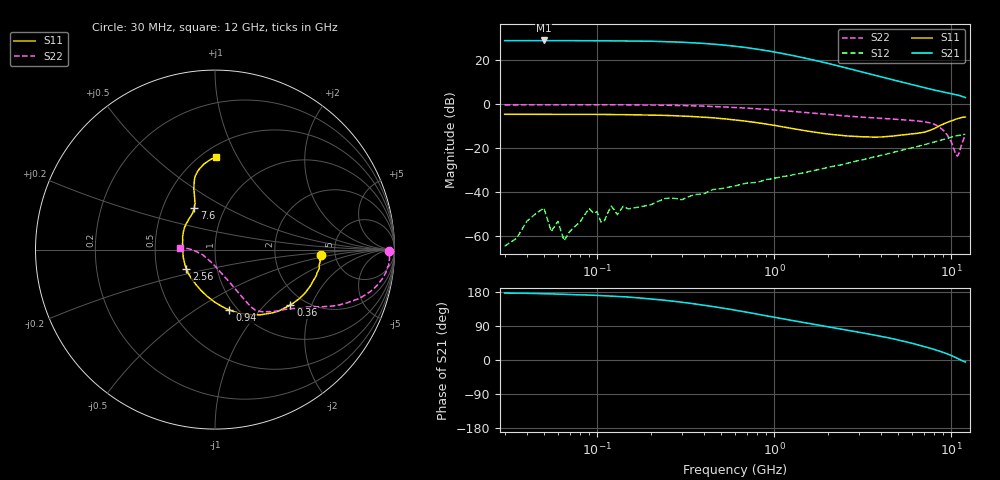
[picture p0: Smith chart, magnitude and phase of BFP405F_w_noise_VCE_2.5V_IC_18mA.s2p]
! Infineon Technologies  Discrete & RF Semiconductors
! BFP405F
! VCE =  2.5 V,  IC =  18 mA
! Common Emitter S-Parameters:  Nov 2015
# GHz  S  MA  R  50
!  f  S11  S21  S12  S22
! GHz  MAG  ANG  MAG  ANG  MAG  ANG  MAG  ANG
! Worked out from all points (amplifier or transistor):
!   239 points, 30 MHz to 12 GHz, reference 50 ohm
!   highest |S21| = 29.0 dB at 50 MHz (marker M1)
!   |S21| within 3 dB of that: start of sweep to 658.2 MHz
!   unconditionally stable (mu >= 1): start of sweep to 36.18 MHz; 1.73 GHz to end of sweep
!   at 300 MHz: K = 0.25, MSG = 35.8 dB, |S12| = -43.3 dB
!   at 1.88 GHz: K = 1.05, MAG = 22.9 dB, |S12| = -29.3 dB
!   at 12 GHz: K = 1.38, MAG = 4.6 dB, |S12| = -13.6 dB
!   lowest NFmin = 2.14 dB at 450 MHz
!   S11 on the Smith chart (normalised r, x): 30 MHz: 3.87, -0.38; 360 MHz: 1.69, -1.43; 940 MHz: 0.92, -0.70; 2.56 GHz: 0.71, -0.16; 7.6 GHz: 0.72, +0.35; 12 GHz: 0.59, +0.82
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0.03  0.5926 -3.1  27.83 176.6  0.0006 -77.5  0.9669 -0.5
0.05  0.5882 -5.9  28.06 174.7  0.0044 41.4  0.9766 -1.6
0.055  0.5897 -5.6  27.93 174.4  0.0013 64.2  0.9728 -1.4
0.06  0.5913 -5.4  27.8 174.0  0.0022 -166.7  0.9691 -1.2
0.065  0.5902 -6.2  27.8 173.4  0.0008 157.2  0.9718 -1.7
0.085  0.5879 -9.0  27.68 171.6  0.0031 90.4  0.973 -2.8
0.15  0.5776 -16.1  27.37 166.1  0.0042 70.0  0.9678 -5.6
0.2  0.5683 -21.0  26.98 161.0  0.0052 77.7  0.9604 -7.6
0.24  0.5585 -25.1  26.36 157.7  0.0072 81.3  0.9515 -9.1
0.3  0.5414 -30.7  25.6 152.5  0.0068 85.7  0.9356 -11.1
0.36  0.5212 -36.3  24.63 147.7  0.0089 77.4  0.9187 -13.1
0.46  0.489 -44.8  23.04 140.4  0.0117 74.5  0.8873 -15.8
0.6  0.4412 -55.6  20.75 131.4  0.014 74.1  0.844 -19.0
0.7  0.4101 -62.1  19.27 126.0  0.0163 70.7  0.8156 -20.6
0.94  0.3457 -76.5  16.06 115.2  0.02 70.9  0.7552 -24.1
1.3  0.275 -95.3  12.53 103.0  0.0255 70.7  0.6837 -27.7
1.64  0.2364 -110.8  10.23 94.9  0.0307 70.0  0.6329 -30.3
2.56  0.1912 -146.5  6.647 79.0  0.0456 68.8  0.5411 -37.5
4.5  0.1865 165.5  3.724 57.8  0.0774 62.6  0.4667 -47.8
7.6  0.2575 116.7  2.205 31.0  0.1311 50.0  0.3759 -57.7
10.8  0.4688 99.2  1.624 4.5  0.194 31.3  0.0666 -132.7
12  0.5137 89.4  1.419 -5.3  0.2088 24.3  0.1971 176.6
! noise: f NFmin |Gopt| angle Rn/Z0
0.45  2.14  0.04  -3  0.51
0.9  2.16  0.03  -6  0.3
1.5  2.2  0.02  -39  0.2
1.9  2.26  0.02  -85  0.26
2.4  2.41  0.02  -104  0.39
3  2.5  0.04  -109  0.06
3.5  2.58  0.06  -113  0.22
4.5  2.8  0.12  -102  0.4
5.5  3.09  0.21  -88  0.41
